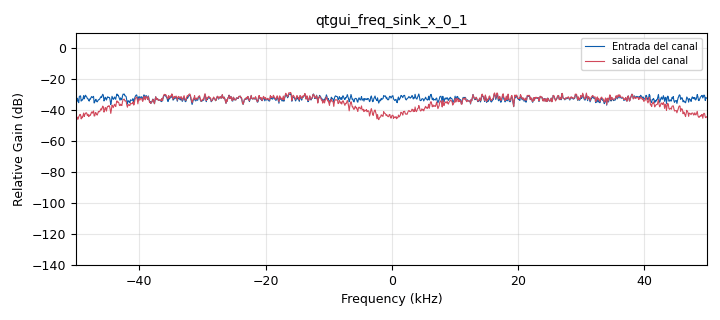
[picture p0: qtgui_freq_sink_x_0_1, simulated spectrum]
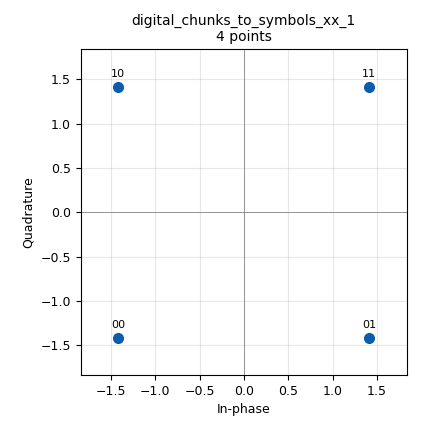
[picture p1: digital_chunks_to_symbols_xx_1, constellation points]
options:
  parameters:
    author: Homero Ortega Boada
    category: Custom
    description: Dale un valor a Es/No, corre el flujograma y obten la SER. Puedes sacar tantos valores como para construir una curva de SER
    generate_options: qt_gui
    id: ser_simulation
    output_language: python
    run: run_stop
    title: SER Simulation
  states: {}

blocks:
- name: Ch_taps
  id: variable
  parameters:
    value: fftpack.ifftshift(fftpack.ifft([tap0, tap1, tap2, tap3, tap4, tap5, tap6, tap7]))
  states: {}
- name: Dtiming
  id: variable_qtgui_range
  parameters:
    gui_hint: controles@0:4,0,1,1
    label: Dtiming
    rangeType: int
    start: '0'
    step: '1'
    stop: Sps-1
    value: '0'
  states: {state: disabled}
- name: Jitter
  id: variable_qtgui_range
  parameters:
    gui_hint: controles@0:6,0,1,1
    label: Jitter
    rangeType: int
    start: '0'
    step: '1'
    stop: Sps
    value: '0'
  states: {}
- name: M
  id: variable
  parameters:
    value: len(constel)
  states: {}
- name: Noise
  id: variable_qtgui_range
  parameters:
    gui_hint: controles@0:1,0,1,1
    label: Noise
    start: '0'
    step: '0.1'
    stop: '10'
    value: '0.1'
  states: {}
- name: Retardo_sym
  id: variable_qtgui_range
  parameters:
    gui_hint: controles@0:5,0,1,1
    label: Delay transmited signal to match with the received signal
    rangeType: int
    start: '0'
    step: '1'
    stop: Sps*10
    value: '1'
  states: {}
- name: Rs
  id: variable
  parameters:
    value: samp_rate/Sps
  states: {}
- name: Sps
  id: variable
  parameters:
    value: '1'
  states: {}
- name: a_d
  id: variable_qtgui_range
  parameters:
    gui_hint: controles@0:3,0,1,1
    label: Fading
    start: '0'
    step: 1/100
    stop: '1'
    value: '1'
  states: {}
- name: constel
  id: variable
  parameters:
    value: digital.constellation_qpsk().points()
  states: {}
- name: f_d
  id: variable_qtgui_range
  parameters:
    gui_hint: controles@0:2,0,1,1
    label: Desviacion de Frecuencia
    start: '0'
    step: 1400/100
    stop: '1400'
    value: '0'
  states: {}
- name: mapdirect
  id: variable
  parameters:
    value: coding.direct_map(constel)
  states: {}
- name: mapinverse
  id: variable
  parameters:
    value: coding.inverse_map(constel)
  states: {}
- name: run_stop
  id: variable_qtgui_check_box
  parameters:
    'false': 'False'
    gui_hint: controles@0:0,0,1,1
    label: Inicial/Parar
    'true': 'True'
    type: int
    value: 'True'
  states: {}
- name: samp_rate
  id: variable
  parameters:
    value: 100e3
  states: {}
- name: tap0
  id: variable_qtgui_range
  parameters:
    gui_hint: controles@0:7,0,1,1
    start: '0'
    step: '0.01'
    stop: '1'
    value: '0.25'
    widget: slider
  states: {}
- name: tap1
  id: variable_qtgui_range
  parameters:
    gui_hint: controles@0:8,0,1,1
    start: '0'
    step: '0.01'
    stop: '1'
    value: '1'
    widget: slider
  states: {}
- name: tap2
  id: variable_qtgui_range
  parameters:
    gui_hint: controles@0:9,0,1,1
    start: '0.25'
    step: '0.01'
    stop: '1'
    value: '1'
    widget: slider
  states: {}
- name: tap3
  id: variable_qtgui_range
  parameters:
    gui_hint: controles@0:10,0,1,1
    start: '0'
    step: '0.01'
    stop: '1'
    value: '1'
    widget: slider
  states: {}
- name: tap4
  id: variable_qtgui_range
  parameters:
    gui_hint: controles@0:11,0,1,1
    start: '0'
    step: '0.01'
    stop: '1'
    value: '0.25'
    widget: slider
  states: {}
- name: tap5
  id: variable_qtgui_range
  parameters:
    gui_hint: controles@0:12,0,1,1
    start: '0'
    step: '0.01'
    stop: '1'
    value: '1'
    widget: slider
  states: {}
- name: tap6
  id: variable_qtgui_range
  parameters:
    gui_hint: controles@0:13,0,1,1
    start: '0.25'
    step: '0.01'
    stop: '1'
    value: '1'
    widget: slider
  states: {}
- name: tap7
  id: variable_qtgui_range
  parameters:
    gui_hint: controles@0:14,0,1,1
    start: '0'
    step: '0.01'
    stop: '1'
    value: '1'
    widget: slider
  states: {}
- name: analog_agc3_xx_0
  id: analog_agc3_xx
  parameters:
    attack_rate: '1e-3'
    decay_rate: '1e-4'
    gain: '1.0'
    iir_update_decim: '1'
    max_gain: '65536'
    reference: '1.0'
    type: complex
  states: {}
- name: analog_const_source_x_0
  id: analog_const_source_x
  parameters:
    const: np.exp(math.pi*1j)
    type: complex
  states: {}
- name: analog_noise_source_x_0
  id: analog_noise_source_x
  parameters:
    amp: Noise
    noise_type: analog.GR_GAUSSIAN
    seed: '0'
    type: complex
  states: {}
- name: analog_random_source_x_1
  id: analog_random_source_x
  parameters:
    max: M
    min: '0'
    num_samps: '10000000'
    repeat: 'True'
    type: byte
  states: {}
- name: analog_sig_source_x_1
  id: analog_sig_source_x
  parameters:
    amp: '1'
    freq: f_d
    offset: '0'
    phase: '0'
    samp_rate: samp_rate
    type: complex
    waveform: analog.GR_COS_WAVE
  states: {}
- name: b_FLL_tunner2_0
  id: b_FLL_tunner2
  parameters:
    Constellation: constel
  states: {}
- name: b_demod_constelacion_cb_0
  id: b_demod_constelacion_cb
  parameters:
    Constelacion: constel
  states: {}
- name: blocks_add_xx_0
  id: blocks_add_xx
  parameters:
    type: complex
  states: {}
- name: blocks_char_to_float_0_0_0
  id: blocks_char_to_float
  parameters:
    scale: '1'
  states: {}
- name: blocks_char_to_float_0_1
  id: blocks_char_to_float
  parameters:
    scale: '1'
  states: {}
- name: blocks_delay_0
  id: blocks_delay
  parameters:
    delay: Retardo_sym
    type: float
  states: {}
- name: blocks_multiply_const_vxx_0
  id: blocks_multiply_const_vxx
  parameters:
    const: a_d
    type: complex
  states: {}
- name: blocks_multiply_xx_0
  id: blocks_multiply_xx
  parameters:
    num_inputs: '3'
    type: complex
  states: {}
- name: blocks_null_sink_0
  id: blocks_null_sink
  parameters:
    type: byte
  states: {}
- name: channels_channel_model_0
  id: channels_channel_model
  parameters:
    epsilon: '1.'
    freq_offset: '0'
    noise_voltage: '0'
    seed: '13'
    taps: Ch_taps
  states: {}
- name: coding
  id: epy_module
  parameters:
    source_code: "# this module will be imported in the into your flowgraph\nimport numpy\nimport math\n#######################################################\n##        Done by Homero Ortega Boada              ##\n##        comdiguis@saber.uis.edu.co                 ##\n##     Universidad Industrial de Santander           ##\n#######################################################\n#######################################################\n##       Constellation map  identification           ##\n#######################################################                  \n# Constellation points are analyzed to determine the \n# the map used for ordering of the constellation points\ndef sum_modulus(a,b,modulus):\n    # realiza una suma de a y b en modulo modulus\n    return (a+b)%modulus\n\ndef angle_map(constellation_points):\n    # esta funcion entrega todos los angulos positivos entre 0 y 2pi\n    angles=numpy.angle(constellation_points)\n    return sum_modulus(angles, 2*math.pi, 2*math.pi)\n\ndef inverse_map(constellation_points):\n    M=len(constellation_points)\n    angles=angle_map(constellation_points)\n    angles=sum_modulus(angles,-angles[0], 2*math.pi) # giro a agulo cero\n    delta_angle= 2*math.pi/M     # angulo entre puntos\n    cod_inv=numpy.round(angles/delta_angle)\n    cod_inv=cod_inv.astype(numpy.int) #conversion a entero \n    return cod_inv\n\ndef direct_map(constellation_points):\n    M=len(constellation_points)\n    codinv=inverse_map(constellation_points)\n    coddirect=numpy.array([0]*M)\n    for j in range(M):\n        temp=numpy.where(codinv==j)\n        coddirect[j]=temp[0][0]\n    return coddirect\n\n\"\"\" # SECCION DE PRUEBAS DEL CODIGO\nimport gnuradio.digital as digital\nconstelacion=digital.constellation_8psk().points()\nprint(\"constelacion = \", constelacion)\nmapdirect=direct_map(constelacion)\nprint(\"codigo directo = \", mapdirect)\nmapinverse=inverse_map(constelacion)\nprint(\"codigo inverso = \", mapinverse)\n\"\"\"\n\n\n\n\n\n\n"
  states: {}
- name: controles
  id: qtgui_tab_widget
  parameters:
    gui_hint: 1,0,1,1
    label0: Tab 0
    num_tabs: '1'
  states: {}
- name: digital_chunks_to_symbols_xx_1
  id: digital_chunks_to_symbols_xx
  parameters:
    dimension: '1'
    in_type: byte
    out_type: complex
    symbol_table: constel
  states: {}
- name: digital_diff_decoder_bb_0
  id: digital_diff_decoder_bb
  parameters:
    modulus: M
  states: {}
- name: digital_diff_encoder_bb_0
  id: digital_diff_encoder_bb
  parameters:
    modulus: M
  states: {}
- name: digital_map_bb_0
  id: digital_map_bb
  parameters:
    map: mapdirect
  states: {}
- name: digital_map_bb_0_0
  id: digital_map_bb
  parameters:
    map: mapinverse
  states: {}
- name: import
  id: import
  parameters:
    imports: import math
  states: {}
- name: import_0
  id: import
  parameters:
    imports: import numpy as np
  states: {}
- name: import_scipy
  id: import
  parameters:
    imports: from scipy import fftpack
  states: {}
- name: note_0_0_1_0_0
  id: note
  parameters:
    note: 'CAPA: Diff Coding'
  states: {}
- name: note_0_0_1_0_0_0
  id: note
  parameters:
    note: 'CAPA: Modulacion'
  states: {}
- name: note_0_0_1_0_0_1
  id: note
  parameters:
    note: 'CAPA: Canal'
  states: {}
- name: note_0_0_1_0_0_1_0
  id: note
  parameters:
    note: Precanal
  states: {}
- name: qtgui_const_sink_x_0
  id: qtgui_const_sink_x
  parameters:
    gui_hint: 7,0,1,1
    label1: R2.1
    label2: R1
    nconnections: '2'
    size: '1024'
    type: complex
  states: {}
- name: qtgui_const_sink_x_0_0
  id: qtgui_const_sink_x
  parameters:
    autoscale: 'True'
    gui_hint: 7,0,1,1
    label1: T2
    label2: R2
    marker1: '-1'
    marker2: '-1'
    nconnections: '2'
    size: '1024'
    style1: '1'
    style2: '1'
    type: complex
  states: {state: disabled}
- name: qtgui_freq_sink_x_0_1
  id: qtgui_freq_sink_x
  parameters:
    average: '0.05'
    bw: Rs
    fc: '0'
    fftsize: '1024'
    gui_hint: 1,1,1,2
    label1: Entrada del canal
    label2: salida del canal
    name: ''
    nconnections: '2'
    showports: 'True'
    type: complex
    width1: '2'
  states: {}
- name: qtgui_time_sink_x_1_0
  id: qtgui_time_sink_x
  parameters:
    gui_hint: 7,1,1,2
    label1: T-1
    label2: R-1
    marker1: '0'
    marker2: '0'
    nconnections: '2'
    size: '1024'
    srate: Rs
    stemplot: 'True'
    type: float
    ymax: M
  states: {}
- name: virtual_sink_0_0_0_1_0
  id: virtual_sink
  parameters:
    stream_id: T0
  states: {}
- name: virtual_sink_0_0_0_2_0_0
  id: virtual_sink
  parameters:
    stream_id: R0
  states: {}
- name: virtual_source_0
  id: virtual_source
  parameters:
    stream_id: R2.1
  states: {}
- name: virtual_source_0_0
  id: virtual_source
  parameters:
    stream_id: R1
  states: {}
- name: virtual_source_0_1
  id: virtual_source
  parameters:
    stream_id: T2
  states: {state: disabled}
- name: virtual_source_0_1_0
  id: virtual_source
  parameters:
    stream_id: R2
  states: {state: disabled}
- name: virtual_source_0_1_1
  id: virtual_source
  parameters:
    stream_id: T1
  states: {}
- name: virtual_source_0_1_1_0
  id: virtual_source
  parameters:
    stream_id: R2.1
  states: {}
- name: virtual_source_0_1_1_0_0
  id: virtual_source
  parameters:
    stream_id: R-1
  states: {}
- name: virtual_source_0_1_1_1
  id: virtual_source
  parameters:
    stream_id: T-1
  states: {}
- name: vs0_1
  id: virtual_sink
  parameters:
    stream_id: T-1
  states: {}
- name: vs0_1_0_0
  id: virtual_sink
  parameters:
    stream_id: R1
  states: {}
- name: vs0_1_0_0_0
  id: virtual_sink
  parameters:
    stream_id: T1
  states: {}
- name: vs0_1_0_1
  id: virtual_sink
  parameters:
    stream_id: R2.1
  states: {}
- name: vs1_0_0
  id: virtual_sink
  parameters:
    stream_id: R-1
  states: {}

connections:
- [analog_agc3_xx_0, '0', b_FLL_tunner2_0, '0']
- [analog_const_source_x_0, '0', blocks_multiply_xx_0, '0']
- [analog_noise_source_x_0, '0', blocks_add_xx_0, '1']
- [analog_random_source_x_1, '0', digital_diff_encoder_bb_0, '0']
- [analog_random_source_x_1, '0', vs0_1, '0']
- [analog_sig_source_x_1, '0', blocks_multiply_xx_0, '1']
- [b_FLL_tunner2_0, '0', b_demod_constelacion_cb_0, '0']
- [b_FLL_tunner2_0, '0', vs0_1_0_0, '0']
- [b_demod_constelacion_cb_0, '0', digital_map_bb_0_0, '0']
- [b_demod_constelacion_cb_0, '0', virtual_sink_0_0_0_2_0_0, '0']
- [blocks_add_xx_0, '0', blocks_multiply_xx_0, '2']
- [blocks_char_to_float_0_0_0, '0', qtgui_time_sink_x_1_0, '1']
- [blocks_char_to_float_0_1, '0', blocks_delay_0, '0']
- [blocks_delay_0, '0', qtgui_time_sink_x_1_0, '0']
- [blocks_multiply_const_vxx_0, '0', channels_channel_model_0, '0']
- [blocks_multiply_xx_0, '0', analog_agc3_xx_0, '0']
- [blocks_multiply_xx_0, '0', vs0_1_0_1, '0']
- [channels_channel_model_0, '0', blocks_add_xx_0, '0']
- [digital_chunks_to_symbols_xx_1, '0', blocks_multiply_const_vxx_0, '0']
- [digital_chunks_to_symbols_xx_1, '0', vs0_1_0_0_0, '0']
- [digital_diff_decoder_bb_0, '0', blocks_null_sink_0, '0']
- [digital_diff_decoder_bb_0, '0', vs1_0_0, '0']
- [digital_diff_encoder_bb_0, '0', digital_map_bb_0, '0']
- [digital_map_bb_0, '0', digital_chunks_to_symbols_xx_1, '0']
- [digital_map_bb_0, '0', virtual_sink_0_0_0_1_0, '0']
- [digital_map_bb_0_0, '0', digital_diff_decoder_bb_0, '0']
- [virtual_source_0, '0', qtgui_const_sink_x_0, '0']
- [virtual_source_0_0, '0', qtgui_const_sink_x_0, '1']
- [virtual_source_0_1, '0', qtgui_const_sink_x_0_0, '0']
- [virtual_source_0_1_0, '0', qtgui_const_sink_x_0_0, '1']
- [virtual_source_0_1_1, '0', qtgui_freq_sink_x_0_1, '0']
- [virtual_source_0_1_1_0, '0', qtgui_freq_sink_x_0_1, '1']
- [virtual_source_0_1_1_0_0, '0', blocks_char_to_float_0_0_0, '0']
- [virtual_source_0_1_1_1, '0', blocks_char_to_float_0_1, '0']

metadata:
  file_format: 1
